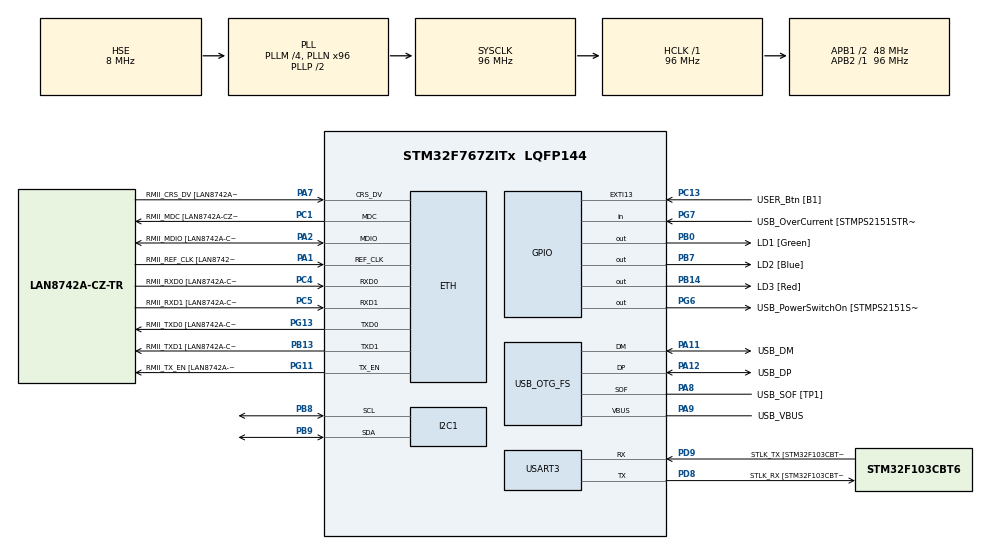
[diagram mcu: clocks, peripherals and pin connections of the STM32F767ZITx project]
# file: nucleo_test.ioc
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ETH.MediaInterface=ETH_MEDIA_INTERFACE_RMII
ETH.PHY_Name=LAN8742A_PHY_ADDRESS
ETH.PHY_Value=0
ETH.PhyAddress=0
I2C1.Timing=0x20303E5D
Mcu.Family=STM32F7
Mcu.Name=STM32F767ZITx
Mcu.Package=LQFP144
NVIC.PriorityGroup=NVIC_PRIORITYGROUP_4
PA1.GPIO_Label=RMII_REF_CLK [LAN8742A-CZ-TR_REFCLK0]
PA1.Mode=RMII
PA1.Signal=ETH_REF_CLK
PA10.GPIO_Label=USB_ID
PA10.Signal=USB_OTG_FS_ID
PA11.GPIO_Label=USB_DM
PA11.Mode=Device_Only
PA11.Signal=USB_OTG_FS_DM
PA12.GPIO_Label=USB_DP
PA12.Mode=Device_Only
PA12.Signal=USB_OTG_FS_DP
PA13.GPIO_Label=TMS
PA13.Mode=Serial_Wire
PA13.Signal=SYS_JTMS-SWDIO
PA14.GPIO_Label=TCK
PA14.Mode=Serial_Wire
PA14.Signal=SYS_JTCK-SWCLK
PA2.GPIO_Label=RMII_MDIO [LAN8742A-CZ-TR_MDIO]
PA2.Mode=RMII
PA2.Signal=ETH_MDIO
PA7.GPIO_Label=RMII_CRS_DV [LAN8742A-CZ-TR_CRS_DV]
PA7.Mode=RMII
PA7.Signal=ETH_CRS_DV
PA8.GPIO_Label=USB_SOF [TP1]
PA8.Mode=Activate_SOF_FS
PA8.Signal=USB_OTG_FS_SOF
PA9.GPIO_Label=USB_VBUS
PA9.Mode=Activate_VBUS
PA9.Signal=USB_OTG_FS_VBUS
PB0.GPIO_Label=LD1 [Green]
PB0.Signal=GPIO_Output
PB13.GPIO_Label=RMII_TXD1 [LAN8742A-CZ-TR_TXD1]
PB13.Mode=RMII
PB13.Signal=ETH_TXD1
PB14.GPIO_Label=LD3 [Red]
PB14.Signal=GPIO_Output
PB3.GPIO_Label=SWO
PB3.Signal=SYS_JTDO-SWO
PB7.GPIO_Label=LD2 [Blue]
PB7.Signal=GPIO_Output
PB8.Mode=I2C
PB8.Signal=I2C1_SCL
PB9.Mode=I2C
PB9.Signal=I2C1_SDA
PC1.GPIO_Label=RMII_MDC [LAN8742A-CZ-TR_MDC]
PC1.Mode=RMII
PC1.Signal=ETH_MDC
PC13.GPIO_Label=USER_Btn [B1]
PC13.Signal=GPXTI13
PC14/OSC32_IN.Mode=LSE-External-Oscillator
PC14/OSC32_IN.Signal=RCC_OSC32_IN
PC15/OSC32_OUT.Mode=LSE-External-Oscillator
PC15/OSC32_OUT.Signal=RCC_OSC32_OUT
PC4.GPIO_Label=RMII_RXD0 [LAN8742A-CZ-TR_RXD0]
PC4.Mode=RMII
PC4.Signal=ETH_RXD0
PC5.GPIO_Label=RMII_RXD1 [LAN8742A-CZ-TR_RXD1]
PC5.Mode=RMII
PC5.Signal=ETH_RXD1
PD8.GPIO_Label=STLK_RX [STM32F103CBT6_PA3]
PD8.Mode=Asynchronous
PD8.Signal=USART3_TX
PD9.GPIO_Label=STLK_TX [STM32F103CBT6_PA2]
PD9.Mode=Asynchronous
PD9.Signal=USART3_RX
PF0.Signal=I2C2_SDA
PF1.Signal=I2C2_SCL
PG11.GPIO_Label=RMII_TX_EN [LAN8742A-CZ-TR_TXEN]
PG11.Mode=RMII
PG11.Signal=ETH_TX_EN
PG13.GPIO_Label=RMII_TXD0 [LAN8742A-CZ-TR_TXD0]
PG13.Mode=RMII
PG13.Signal=ETH_TXD0
PG6.GPIO_Label=USB_PowerSwitchOn [STMPS2151STR_EN]
PG6.Signal=GPIO_Output
PG7.GPIO_Label=USB_OverCurrent [STMPS2151STR_FAULT]
PG7.Signal=GPIO_Input
PH0/OSC_IN.GPIO_Label=MCO [STM32F103CBT6_PA8]
PH0/OSC_IN.Mode=HSE-External-Clock-Source
PH0/OSC_IN.Signal=RCC_OSC_IN
PH1/OSC_OUT.Mode=HSE-External-Clock-Source
PH1/OSC_OUT.Signal=RCC_OSC_OUT
ProjectManager.HeapSize=0x200
ProjectManager.StackSize=0x400
ProjectManager.TargetToolchain=STM32CubeIDE
RCC.48MHZClocksFreq_Value=24000000
RCC.AHBFreq_Value=96000000
RCC.APB1CLKDivider=RCC_HCLK_DIV2
RCC.APB1Freq_Value=48000000
RCC.APB1TimFreq_Value=96000000
RCC.APB2Freq_Value=96000000
RCC.APB2TimFreq_Value=96000000
RCC.CortexFreq_Value=96000000
RCC.HCLKFreq_Value=96000000
RCC.HSE_VALUE=8000000
RCC.HSI_VALUE=16000000
RCC.PLLM=4
RCC.PLLMUL=RCC_PLL_MUL9
RCC.PLLN=96
RCC.PLLQ=4
RCC.PRESCALERUSB=RCC_USBCLKSOURCE_PLL_DIV1_5
RCC.SYSCLKFreq_VALUE=96000000
RCC.SYSCLKSource=RCC_SYSCLKSOURCE_PLLCLK
RCC.SYSCLKSourceVirtual=RCC_SYSCLKSOURCE_PLLCLK
RCC.USBFreq_Value=48000000
RCC.VCOOutputFreq_Value=192000000
USART3.VirtualMode-Asynchronous=VM_ASYNC
USB_OTG_FS.VirtualMode=Device_Only
board=NUCLEO-F767ZI

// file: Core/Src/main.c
/* USER CODE BEGIN Header */
/**
  ******************************************************************************
  * @file           : main.c
  * @brief          : Main program body
  ******************************************************************************
  * @attention
  *
  * <h2><center>&copy; Copyright (c) 2020 STMicroelectronics.
  * All rights reserved.</center></h2>
  *
  * This software component is licensed by ST under BSD 3-Clause license,
  * the "License"; You may not use this file except in compliance with the
  * License. You may obtain a copy of the License at:
  *                        opensource.org/licenses/BSD-3-Clause
  *
  ******************************************************************************
  */
/* USER CODE END Header */
#include "main.h"

/* USER CODE BEGIN Includes */
#include "mpu6050.h"
#include "i2c.h"
/* USER CODE END Includes */

ETH_HandleTypeDef heth;

I2C_HandleTypeDef hi2c1;

UART_HandleTypeDef huart3;

PCD_HandleTypeDef hpcd_USB_OTG_FS;

/* USER CODE BEGIN PV */
MPU6050_t MPU6050;
/* USER CODE END PV */

void SystemClock_Config(void);
static void MX_GPIO_Init(void);
static void MX_ETH_Init(void);
static void MX_USART3_UART_Init(void);
static void MX_USB_OTG_FS_PCD_Init(void);
void MX_I2C1_Init(void);

/* USER CODE BEGIN 0 */

#ifdef __GNUC__
 #define PUTCHAR_PROTOTYPE int __io_putchar(int ch)
#else
 #define PUTCHAR_PROTOTYPE int fputc(int ch, FILE *f)
#endif

PUTCHAR_PROTOTYPE
{
 HAL_UART_Transmit(&huart3, (uint8_t *)&ch, 1, 1);
 return ch;
}

/* USER CODE END 0 */

int main(void)
{

  /* MCU Configuration--------------------------------------------------------*/

  /* Reset of all peripherals, Initializes the Flash interface and the Systick. */
  HAL_Init();

  /* Configure the system clock */
  SystemClock_Config();

  /* Initialize all configured peripherals */
  MX_GPIO_Init();
  //MX_ETH_Init();
  MX_USART3_UART_Init();
  MX_USB_OTG_FS_PCD_Init();
  MX_I2C1_Init();
  /* USER CODE BEGIN 2 */
  while (MPU6050_Init(&hi2c1) == 1);
  double ax;
  double ay;
  double az;

  /* USER CODE END 2 */

  /* Infinite loop */
  while (1)
  {
	MPU6050_Read_Accel(&hi2c1, &MPU6050);
	ax=MPU6050.Ax;
	ay=MPU6050.Ay;
	az=MPU6050.Az;
	printf("x: %.3f   y: %.3f   z: %3f\n",&ax,&ay,&az);
	HAL_Delay(1000);
  }
}

void SystemClock_Config(void)
{
  RCC_OscInitTypeDef RCC_OscInitStruct = {0};
  RCC_ClkInitTypeDef RCC_ClkInitStruct = {0};
  RCC_PeriphCLKInitTypeDef PeriphClkInitStruct = {0};

  /** Configure LSE Drive Capability
  */
  HAL_PWR_EnableBkUpAccess();
  /** Configure the main internal regulator output voltage
  */
  __HAL_RCC_PWR_CLK_ENABLE();
  __HAL_PWR_VOLTAGESCALING_CONFIG(PWR_REGULATOR_VOLTAGE_SCALE3);
  /** Initializes the RCC Oscillators according to the specified parameters
  * in the RCC_OscInitTypeDef structure.
  */
  RCC_OscInitStruct.OscillatorType = RCC_OSCILLATORTYPE_HSE;
  RCC_OscInitStruct.HSEState = RCC_HSE_BYPASS;
  RCC_OscInitStruct.PLL.PLLState = RCC_PLL_ON;
  RCC_OscInitStruct.PLL.PLLSource = RCC_PLLSOURCE_HSE;
  RCC_OscInitStruct.PLL.PLLM = 4;
  RCC_OscInitStruct.PLL.PLLN = 96;
  RCC_OscInitStruct.PLL.PLLP = RCC_PLLP_DIV2;
  RCC_OscInitStruct.PLL.PLLQ = 4;
  if (HAL_RCC_OscConfig(&RCC_OscInitStruct) != HAL_OK)
  {
    Error_Handler();
  }
  /** Activate the Over-Drive mode
  */
  if (HAL_PWREx_EnableOverDrive() != HAL_OK)
  {
    Error_Handler();
  }
  /** Initializes the CPU, AHB and APB buses clocks
  */
  RCC_ClkInitStruct.ClockType = RCC_CLOCKTYPE_HCLK|RCC_CLOCKTYPE_SYSCLK
                              |RCC_CLOCKTYPE_PCLK1|RCC_CLOCKTYPE_PCLK2;
  RCC_ClkInitStruct.SYSCLKSource = RCC_SYSCLKSOURCE_PLLCLK;
  RCC_ClkInitStruct.AHBCLKDivider = RCC_SYSCLK_DIV1;
  RCC_ClkInitStruct.APB1CLKDivider = RCC_HCLK_DIV2;
  RCC_ClkInitStruct.APB2CLKDivider = RCC_HCLK_DIV1;

  if (HAL_RCC_ClockConfig(&RCC_ClkInitStruct, FLASH_LATENCY_3) != HAL_OK)
  {
    Error_Handler();
  }
  PeriphClkInitStruct.PeriphClockSelection = RCC_PERIPHCLK_USART3|RCC_PERIPHCLK_I2C1
                              |RCC_PERIPHCLK_CLK48;
  PeriphClkInitStruct.Usart3ClockSelection = RCC_USART3CLKSOURCE_PCLK1;
  PeriphClkInitStruct.I2c1ClockSelection = RCC_I2C1CLKSOURCE_PCLK1;
  PeriphClkInitStruct.Clk48ClockSelection = RCC_CLK48SOURCE_PLL;
  if (HAL_RCCEx_PeriphCLKConfig(&PeriphClkInitStruct) != HAL_OK)
  {
    Error_Handler();
  }
}

static void MX_ETH_Init(void)
{

  heth.Instance = ETH;
  heth.Init.AutoNegotiation = ETH_AUTONEGOTIATION_ENABLE;
  heth.Init.Speed = ETH_SPEED_100M;
  heth.Init.DuplexMode = ETH_MODE_FULLDUPLEX;
  heth.Init.PhyAddress = LAN8742A_PHY_ADDRESS;
  heth.Init.MACAddr[0] =   0x00;
  heth.Init.MACAddr[1] =   0x80;
  heth.Init.MACAddr[2] =   0xE1;
  heth.Init.MACAddr[3] =   0x00;
  heth.Init.MACAddr[4] =   0x00;
  heth.Init.MACAddr[5] =   0x00;
  heth.Init.RxMode = ETH_RXPOLLING_MODE;
  heth.Init.ChecksumMode = ETH_CHECKSUM_BY_HARDWARE;
  heth.Init.MediaInterface = ETH_MEDIA_INTERFACE_RMII;

  if (HAL_ETH_Init(&heth) != HAL_OK)
  {
    Error_Handler();
  }

}

static void MX_USART3_UART_Init(void)
{

  huart3.Instance = USART3;
  huart3.Init.BaudRate = 115200;
  huart3.Init.WordLength = UART_WORDLENGTH_8B;
  huart3.Init.StopBits = UART_STOPBITS_1;
  huart3.Init.Parity = UART_PARITY_NONE;
  huart3.Init.Mode = UART_MODE_TX_RX;
  huart3.Init.HwFlowCtl = UART_HWCONTROL_NONE;
  huart3.Init.OverSampling = UART_OVERSAMPLING_16;
  huart3.Init.OneBitSampling = UART_ONE_BIT_SAMPLE_DISABLE;
  huart3.AdvancedInit.AdvFeatureInit = UART_ADVFEATURE_NO_INIT;
  if (HAL_UART_Init(&huart3) != HAL_OK)
  {
    Error_Handler();
  }

}

static void MX_USB_OTG_FS_PCD_Init(void)
{

  hpcd_USB_OTG_FS.Instance = USB_OTG_FS;
  hpcd_USB_OTG_FS.Init.dev_endpoints = 6;
  hpcd_USB_OTG_FS.Init.speed = PCD_SPEED_FULL;
  hpcd_USB_OTG_FS.Init.dma_enable = DISABLE;
  hpcd_USB_OTG_FS.Init.phy_itface = PCD_PHY_EMBEDDED;
  hpcd_USB_OTG_FS.Init.Sof_enable = ENABLE;
  hpcd_USB_OTG_FS.Init.low_power_enable = DISABLE;
  hpcd_USB_OTG_FS.Init.lpm_enable = DISABLE;
  hpcd_USB_OTG_FS.Init.vbus_sensing_enable = ENABLE;
  hpcd_USB_OTG_FS.Init.use_dedicated_ep1 = DISABLE;
  if (HAL_PCD_Init(&hpcd_USB_OTG_FS) != HAL_OK)
  {
    Error_Handler();
  }

}

static void MX_GPIO_Init(void)
{
  GPIO_InitTypeDef GPIO_InitStruct = {0};

  /* GPIO Ports Clock Enable */
  __HAL_RCC_GPIOC_CLK_ENABLE();
  __HAL_RCC_GPIOF_CLK_ENABLE();
  __HAL_RCC_GPIOH_CLK_ENABLE();
  __HAL_RCC_GPIOA_CLK_ENABLE();
  __HAL_RCC_GPIOB_CLK_ENABLE();
  __HAL_RCC_GPIOD_CLK_ENABLE();
  __HAL_RCC_GPIOG_CLK_ENABLE();

  /*Configure GPIO pin Output Level */
  HAL_GPIO_WritePin(GPIOB, LD1_Pin|LD3_Pin|LD2_Pin, GPIO_PIN_RESET);

  /*Configure GPIO pin Output Level */
  HAL_GPIO_WritePin(USB_PowerSwitchOn_GPIO_Port, USB_PowerSwitchOn_Pin, GPIO_PIN_RESET);

  /*Configure GPIO pin : USER_Btn_Pin */
  GPIO_InitStruct.Pin = USER_Btn_Pin;
  GPIO_InitStruct.Mode = GPIO_MODE_IT_RISING;
  GPIO_InitStruct.Pull = GPIO_NOPULL;
  HAL_GPIO_Init(USER_Btn_GPIO_Port, &GPIO_InitStruct);

  /*Configure GPIO pins : PF0 PF1 */
  GPIO_InitStruct.Pin = GPIO_PIN_0|GPIO_PIN_1;
  GPIO_InitStruct.Mode = GPIO_MODE_AF_OD;
  GPIO_InitStruct.Pull = GPIO_PULLUP;
  GPIO_InitStruct.Speed = GPIO_SPEED_FREQ_VERY_HIGH;
  GPIO_InitStruct.Alternate = GPIO_AF4_I2C2;
  HAL_GPIO_Init(GPIOF, &GPIO_InitStruct);

  /*Configure GPIO pins : LD1_Pin LD3_Pin LD2_Pin */
  GPIO_InitStruct.Pin = LD1_Pin|LD3_Pin|LD2_Pin;
  GPIO_InitStruct.Mode = GPIO_MODE_OUTPUT_PP;
  GPIO_InitStruct.Pull = GPIO_NOPULL;
  GPIO_InitStruct.Speed = GPIO_SPEED_FREQ_LOW;
  HAL_GPIO_Init(GPIOB, &GPIO_InitStruct);

  /*Configure GPIO pin : USB_PowerSwitchOn_Pin */
  GPIO_InitStruct.Pin = USB_PowerSwitchOn_Pin;
  GPIO_InitStruct.Mode = GPIO_MODE_OUTPUT_PP;
  GPIO_InitStruct.Pull = GPIO_NOPULL;
  GPIO_InitStruct.Speed = GPIO_SPEED_FREQ_LOW;
  HAL_GPIO_Init(USB_PowerSwitchOn_GPIO_Port, &GPIO_InitStruct);

  /*Configure GPIO pin : USB_OverCurrent_Pin */
  GPIO_InitStruct.Pin = USB_OverCurrent_Pin;
  GPIO_InitStruct.Mode = GPIO_MODE_INPUT;
  GPIO_InitStruct.Pull = GPIO_NOPULL;
  HAL_GPIO_Init(USB_OverCurrent_GPIO_Port, &GPIO_InitStruct);

}

void Error_Handler(void)
{
  __disable_irq();
  while (1)
  {
  }
}

/************************ (C) COPYRIGHT STMicroelectronics *****END OF FILE****/
